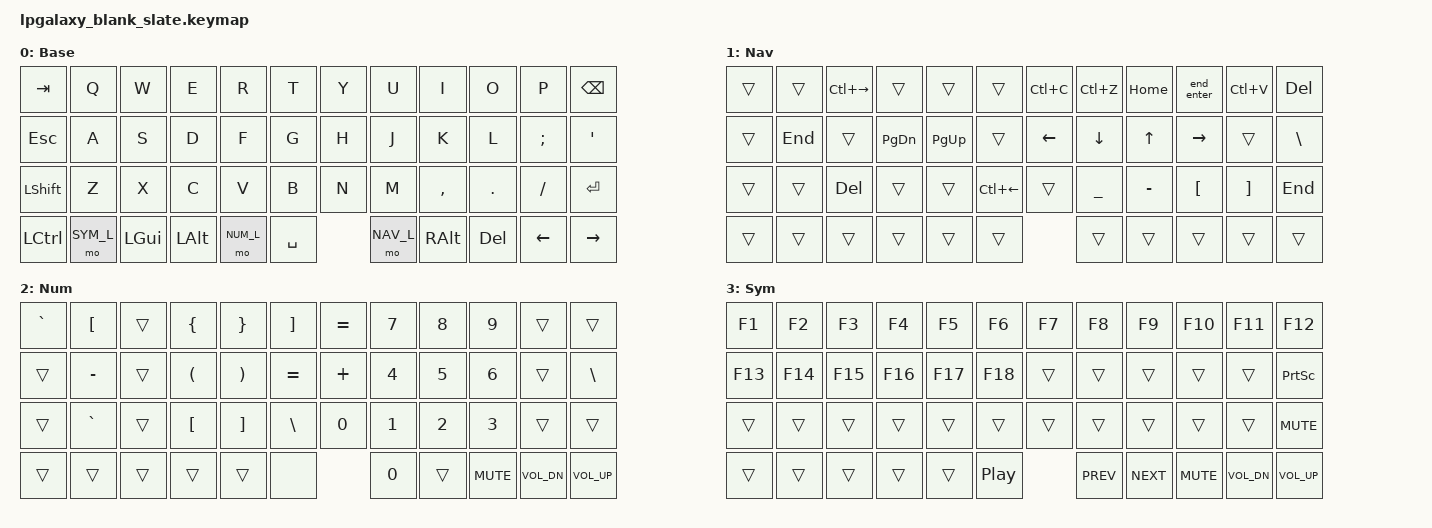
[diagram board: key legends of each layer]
/*
 * Copyright (c) 2022 Pete Johanson
 *
 * SPDX-License-Identifier: MIT
 */

#include <behaviors.dtsi>
#include <dt-bindings/zmk/keys.h>
#include <dt-bindings/zmk/bt.h>
#include <dt-bindings/zmk/outputs.h>

#define NAV_L 1
#define NUM_L 2
#define SYM_L 3

// Using layer taps on thumbs, having quick tap as well helps w/ repeating space/backspace
&lt { quick_tap_ms = <200>; };

#define BT(n) BT_SEL n

/ {
    chosen {
       zmk,physical-layout = &layout_ortho_4x12_1x2u;
    };

    macros {
      ZMK_MACRO(thumbs_up,
		wait-ms = <1>;
		tap-ms = <5>;
                bindings = <&kp PLUS &kp COLON &kp PLUS &kp N1 &kp COLON &kp RET>;
		)

     ZMK_MACRO(end_enter,
		wait-ms = <10>;
		tap-ms = <10>;
		bindings = <&kp END &kp ENTER>;
		)
    };
    
    tap_dances {
    	shifty: shift_caps_word {
		compatible = "zmk,behavior-tap-dance";
		label = "TD_SHIFTY";
		#binding-cells = <0>;
		tapping-term-ms = <150>;
		bindings = <&kp LSHFT>, <&caps_word>;
	};
    };

    keymap {
        compatible = "zmk,keymap";

        base_layer {
            label = "Base";
            bindings = <
&kp TAB    &kp Q      &kp W      &kp E       &kp R          &kp T          &kp Y            &kp U          &kp I       &kp O      &kp P         &kp BKSP
&kp ESC    &kp A      &kp S      &kp D       &kp F          &kp G          &kp H            &kp J          &kp K       &kp L      &kp SEMI      &kp QUOT
&kp LSHFT  &kp Z      &kp X      &kp C       &kp V          &kp B          &kp N            &kp M          &kp COMMA   &kp DOT    &kp FSLH      &kp RET
&kp LCTRL  &mo SYM_L  &kp LGUI   &kp LALT    &mo NUM_L           &kp SPACE                  &mo NAV_L      &kp RALT    &kp DEL    &kp LEFT      &kp RIGHT
            >;
        };

        nav_layer {
            label = "Nav";
            bindings = <
&trans     &trans     &kp LC(RIGHT) &trans      &trans      &trans        &kp LC(C)       &kp LC(Z)      &kp HOME    &end_enter  &kp LC(V)     &kp DEL
&trans     &kp END    &trans        &kp PG_DN   &kp PG_UP   &trans        &kp LEFT        &kp DOWN       &kp UP      &kp RIGHT   &trans     &kp BSLH
&trans     &trans     &kp DEL       &trans      &trans      &kp LC(LEFT)  &trans          &kp UNDER      &kp MINUS   &kp LBKT    &kp RBKT   &kp END
&trans     &trans     &trans        &trans      &trans                 &trans             &trans         &trans      &trans      &trans     &trans
            >;
        };

        num_layer {
            label = "Num";
            bindings = <
&kp GRAVE  &kp LBKT   &trans   &kp LBRC   &kp RBRC  &kp RBKT    &kp EQUAL     &kp N7     &kp N8      &kp N9       &trans         &trans
&trans     &kp MINUS  &trans   &kp LPAR   &kp RPAR  &kp EQUAL   &kp PLUS      &kp N4     &kp N5      &kp N6       &trans         &kp BSLH
&trans     &kp GRAVE  &trans   &kp LBKT   &kp RBKT  &kp BSLH    &kp N0        &kp N1     &kp N2      &kp N3       &trans         &trans
&trans     &trans     &trans   &trans     &trans         &none                &kp N0     &trans      &kp C_MUTE   &kp C_VOL_DN   &kp C_VOL_UP
            >;
        };

        sym_layer {
            label = "Sym";
            bindings = <
&kp F1     &kp F2     &kp F3     &kp F4      &kp F5       &kp F6       &kp F7     &kp F8      &kp F9       &kp F10      &kp F11       &kp F12
&kp F13    &kp F14    &kp F15    &kp F16     &kp F17      &kp F18      &trans     &trans      &trans       &trans       &trans        &kp PSCRN
&trans     &trans     &trans     &trans      &trans       &trans       &trans     &trans      &trans       &trans       &trans        &kp C_MUTE
&trans     &trans     &trans     &trans      &trans            &kp C_PP           &kp C_PREV  &kp C_NEXT   &kp C_MUTE   &kp C_VOL_DN  &kp C_VOL_UP
            >;
        };

    };
};

